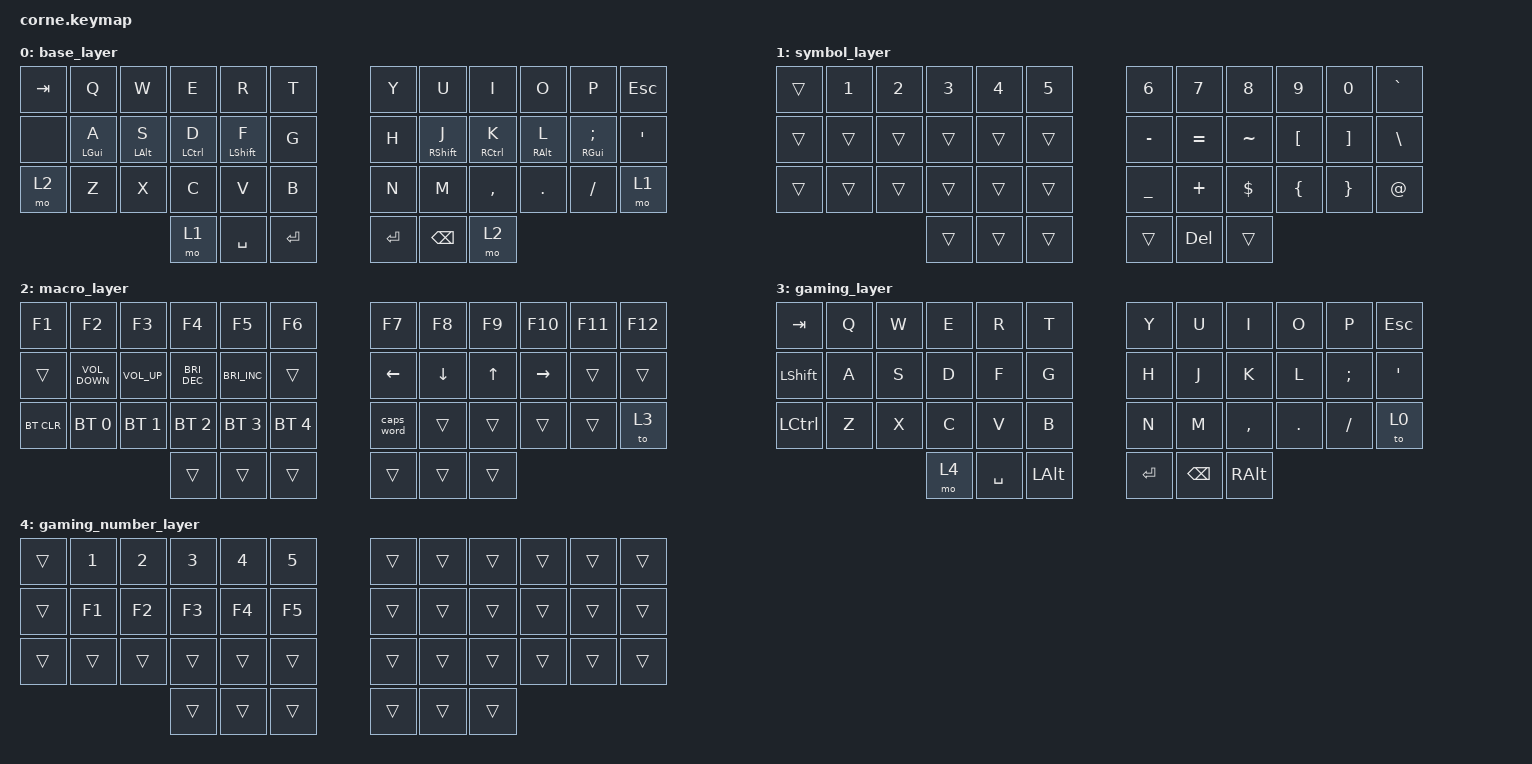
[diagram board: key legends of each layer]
/*
 * Copyright (c) 2020 The ZMK Contributors
 *
 * SPDX-License-Identifier: MIT
 */

#include <behaviors.dtsi>
#include <dt-bindings/zmk/bt.h>
#include <dt-bindings/zmk/keys.h>

/ {
    combos { compatible = "zmk,combos"; };

    behaviors {
        lh_pht: home_row_left_mod_tap {
            compatible = "zmk,behavior-hold-tap";
            label = "LH_PHT";
            #binding-cells = <2>;
            bindings = <&kp>, <&kp>;

            tapping-term-ms = <225>;
            quick-tap-ms = <175>;
            flavor = "tap-preferred";
        };

        rh_pht: home_row_right_mod_tap {
            compatible = "zmk,behavior-hold-tap";
            label = "RH_PHT";
            bindings = <&kp>, <&kp>;

            #binding-cells = <2>;
            tapping-term-ms = <225>;
            quick-tap-ms = <175>;
            flavor = "tap-preferred";
        };
    };

    keymap {
        compatible = "zmk,keymap";

        base_layer {
            // -----------------------------------------------------------------------------------------
            // |  TAB |  Q  |  W  |  E  |  R  |  T  |   |  Y  |  U   |  I  |  O  |  P  | BKSP |
            // | CTRL |  A  |  S  |  D  |  F  |  G  |   |  H  |  J   |  K  |  L  |  ;  |  '   |
            // | SHFT |  Z  |  X  |  C  |  V  |  B  |   |  N  |  M   |  ,  |  .  |  /  | ESC  |
            //                    | GUI | LWR | SPC |   | ENT | RSE  | ALT |

            bindings = <
&kp TAB  &kp Q               &kp W               &kp E            &kp R                 &kp T        &kp Y    &kp U                  &kp I            &kp O                &kp P                   &kp ESC
&none    &lh_pht LEFT_GUI A  &lh_pht LEFT_ALT S  &lh_pht LCTRL D  &lh_pht LEFT_SHIFT F  &kp G        &kp H    &rh_pht RIGHT_SHIFT J  &rh_pht RCTRL K  &rh_pht RIGHT_ALT L  &rh_pht RIGHT_GUI SEMI  &kp SQT
&mo 2    &kp Z               &kp X               &kp C            &kp V                 &kp B        &kp N    &kp M                  &kp COMMA        &kp DOT              &kp FSLH                &mo 1
                                                 &mo 1            &kp SPACE             &kp ENTER    &kp RET  &kp BACKSPACE          &mo 2
            >;
        };

        symbol_layer {
            // -----------------------------------------------------------------------------------------
            // |  TAB |  1  |  2  |  3  |  4  |  5  |   |  6  |  7  |  8  |  9  |  0  | BKSP |
            // | BTCLR| BT1 | BT2 | BT3 | BT4 | BT5 |   | LFT | DWN |  UP | RGT |     |      |
            // | SHFT |     |     |     |     |     |   |     |     |     |     |     |      |
            //                    | GUI |     | SPC |   | ENT |     | ALT |

            bindings = <
&trans  &kp N1  &kp N2  &kp N3  &kp N4  &kp N5    &kp N6          &kp N7      &kp N8      &kp N9            &kp N0             &kp GRAVE
&trans  &trans  &trans  &trans  &trans  &trans    &kp MINUS       &kp EQUAL   &kp TILDE   &kp LEFT_BRACKET  &kp RIGHT_BRACKET  &kp BACKSLASH
&trans  &trans  &trans  &trans  &trans  &trans    &kp UNDERSCORE  &kp PLUS    &kp DOLLAR  &kp LEFT_BRACE    &kp RIGHT_BRACE    &kp AT
                        &trans  &trans  &trans    &trans          &kp DELETE  &trans
            >;
        };

        macro_layer {
            // -----------------------------------------------------------------------------------------
            // |  TAB |  !  |  @  |  #  |  $  |  %  |   |  ^  |  &  |  *  |  (  |  )  | BKSP |
            // | CTRL |     |     |     |     |     |   |  -  |  =  |  [  |  ]  |  \  |  `   |
            // | SHFT |     |     |     |     |     |   |  _  |  +  |  {  |  }  | "|" |  ~   |
            //                    | GUI |     | SPC |   | ENT |     | ALT |

            bindings = <
&kp F1      &kp F2             &kp F3           &kp F4                &kp F5                &kp F6          &kp F7      &kp F8    &kp F9  &kp F10    &kp F11  &kp F12
&trans      &kp C_VOLUME_DOWN  &kp C_VOLUME_UP  &kp C_BRIGHTNESS_DEC  &kp C_BRIGHTNESS_INC  &trans          &kp LEFT    &kp DOWN  &kp UP  &kp RIGHT  &trans   &trans
&bt BT_CLR  &bt BT_SEL 0       &bt BT_SEL 1     &bt BT_SEL 2          &bt BT_SEL 3          &bt BT_SEL 4    &caps_word  &trans    &trans  &trans     &trans   &to 3
                                                &trans                &trans                &trans          &trans      &trans    &trans
            >;
        };

        gaming_layer {
            bindings = <
&kp TAB    &kp Q  &kp W  &kp E  &kp R      &kp T       &kp Y      &kp U          &kp I      &kp O    &kp P     &kp ESCAPE
&kp LSHFT  &kp A  &kp S  &kp D  &kp F      &kp G       &kp H      &kp J          &kp K      &kp L    &kp SEMI  &kp APOS
&kp LCTRL  &kp Z  &kp X  &kp C  &kp V      &kp B       &kp N      &kp M          &kp COMMA  &kp DOT  &kp FSLH  &to 0
                         &mo 4  &kp SPACE  &kp LALT    &kp ENTER  &kp BACKSPACE  &kp RALT
            >;
        };

        gaming_number_layer {
            bindings = <
&trans  &kp N1  &kp N2  &kp N3  &kp N4  &kp N5    &trans  &trans  &trans  &trans  &trans  &trans
&trans  &kp F1  &kp F2  &kp F3  &kp F4  &kp F5    &trans  &trans  &trans  &trans  &trans  &trans
&trans  &trans  &trans  &trans  &trans  &trans    &trans  &trans  &trans  &trans  &trans  &trans
                        &trans  &trans  &trans    &trans  &trans  &trans
            >;
        };
    };
};
